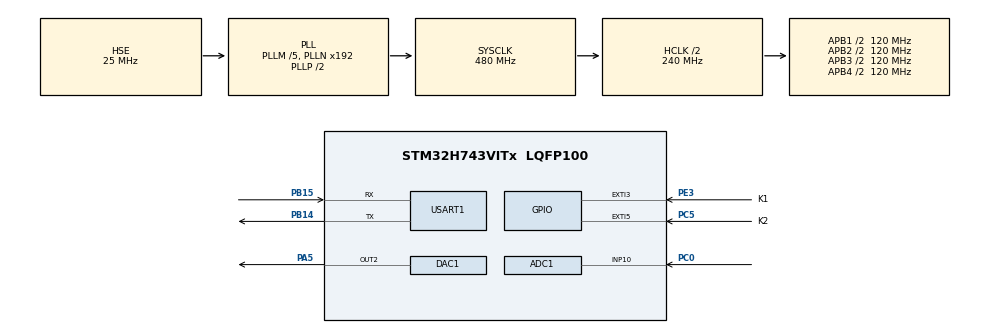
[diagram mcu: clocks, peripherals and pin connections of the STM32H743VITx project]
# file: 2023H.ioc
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ADC1.Channel-0\#ChannelRegularConversion=ADC_CHANNEL_10
ADC1.ConversionDataManagement=ADC_CONVERSIONDATA_DMA_CIRCULAR
ADC1.ExternalTrigConv=ADC_EXTERNALTRIG_T15_TRGO
ADC1.NbrOfConversionFlag=1
ADC1.OffsetNumber-0\#ChannelRegularConversion=ADC_OFFSET_NONE
ADC1.OffsetSignedSaturation-0\#ChannelRegularConversion=DISABLE
ADC1.Rank-0\#ChannelRegularConversion=1
ADC1.SamplingTime-0\#ChannelRegularConversion=ADC_SAMPLETIME_1CYCLE_5
ADC1.master=1
CORTEX_M7.AccessPermission-Cortex_Memory_Protection_Unit_Region0_Settings=MPU_REGION_FULL_ACCESS
CORTEX_M7.AccessPermission-Cortex_Memory_Protection_Unit_Region1_Settings=MPU_REGION_FULL_ACCESS
CORTEX_M7.AccessPermission-Cortex_Memory_Protection_Unit_Region2_Settings=MPU_REGION_FULL_ACCESS
CORTEX_M7.AccessPermission-Cortex_Memory_Protection_Unit_Region3_Settings=MPU_REGION_FULL_ACCESS
CORTEX_M7.AccessPermission-Cortex_Memory_Protection_Unit_Region4_Settings=MPU_REGION_FULL_ACCESS
CORTEX_M7.BaseAddress-Cortex_Memory_Protection_Unit_Region0_Settings=0x24000000
CORTEX_M7.BaseAddress-Cortex_Memory_Protection_Unit_Region1_Settings=0x30000000
CORTEX_M7.BaseAddress-Cortex_Memory_Protection_Unit_Region2_Settings=0x30020000
CORTEX_M7.BaseAddress-Cortex_Memory_Protection_Unit_Region3_Settings=0x30040000
CORTEX_M7.BaseAddress-Cortex_Memory_Protection_Unit_Region4_Settings=0x38000000
CORTEX_M7.CPU_DCache=Enabled
CORTEX_M7.CPU_ICache=Enabled
CORTEX_M7.Enable-Cortex_Memory_Protection_Unit_Region0_Settings=MPU_REGION_ENABLE
CORTEX_M7.Enable-Cortex_Memory_Protection_Unit_Region1_Settings=MPU_REGION_ENABLE
CORTEX_M7.Enable-Cortex_Memory_Protection_Unit_Region2_Settings=MPU_REGION_ENABLE
CORTEX_M7.Enable-Cortex_Memory_Protection_Unit_Region3_Settings=MPU_REGION_ENABLE
CORTEX_M7.Enable-Cortex_Memory_Protection_Unit_Region4_Settings=MPU_REGION_ENABLE
CORTEX_M7.IsBufferable-Cortex_Memory_Protection_Unit_Region0_Settings=MPU_ACCESS_BUFFERABLE
CORTEX_M7.IsCacheable-Cortex_Memory_Protection_Unit_Region0_Settings=MPU_ACCESS_CACHEABLE
CORTEX_M7.MPU_Control=MPU_PRIVILEGED_DEFAULT
CORTEX_M7.Size-Cortex_Memory_Protection_Unit_Region0_Settings=MPU_REGION_SIZE_512KB
CORTEX_M7.Size-Cortex_Memory_Protection_Unit_Region1_Settings=MPU_REGION_SIZE_128KB
CORTEX_M7.Size-Cortex_Memory_Protection_Unit_Region2_Settings=MPU_REGION_SIZE_128KB
CORTEX_M7.Size-Cortex_Memory_Protection_Unit_Region3_Settings=MPU_REGION_SIZE_32KB
CORTEX_M7.Size-Cortex_Memory_Protection_Unit_Region4_Settings=MPU_REGION_SIZE_64KB
CORTEX_M7.TypeExtField-Cortex_Memory_Protection_Unit_Region0_Settings=MPU_TEX_LEVEL1
CORTEX_M7.TypeExtField-Cortex_Memory_Protection_Unit_Region1_Settings=MPU_TEX_LEVEL1
CORTEX_M7.TypeExtField-Cortex_Memory_Protection_Unit_Region2_Settings=MPU_TEX_LEVEL1
CORTEX_M7.TypeExtField-Cortex_Memory_Protection_Unit_Region3_Settings=MPU_TEX_LEVEL1
CORTEX_M7.TypeExtField-Cortex_Memory_Protection_Unit_Region4_Settings=MPU_TEX_LEVEL1
DAC1.DAC2_OutputBuffer-DAC_OUT2=DAC_OUTPUTBUFFER_DISABLE
DAC1.DAC_Channel-DAC_OUT2=DAC_CHANNEL_2
DAC1.DAC_Trigger-DAC_OUT2=DAC_TRIGGER_T6_TRGO
DAC1.WaveGeneration-DAC_OUT2=DISABLE
Dma.ADC1.0.Direction=DMA_PERIPH_TO_MEMORY
Dma.ADC1.0.EventEnable=DISABLE
Dma.ADC1.0.FIFOMode=DMA_FIFOMODE_DISABLE
Dma.ADC1.0.Instance=DMA1_Stream0
Dma.ADC1.0.MemDataAlignment=DMA_MDATAALIGN_HALFWORD
Dma.ADC1.0.MemInc=DMA_MINC_ENABLE
Dma.ADC1.0.Mode=DMA_NORMAL
Dma.ADC1.0.PeriphDataAlignment=DMA_PDATAALIGN_HALFWORD
Dma.ADC1.0.PeriphInc=DMA_PINC_DISABLE
Dma.ADC1.0.Polarity=HAL_DMAMUX_REQ_GEN_RISING
Dma.ADC1.0.Priority=DMA_PRIORITY_LOW
Dma.ADC1.0.RequestNumber=1
Dma.ADC1.0.SignalID=NONE
Dma.ADC1.0.SyncEnable=DISABLE
Dma.ADC1.0.SyncPolarity=HAL_DMAMUX_SYNC_NO_EVENT
Dma.ADC1.0.SyncRequestNumber=1
Dma.ADC1.0.SyncSignalID=NONE
Dma.DAC1_CH2.1.Direction=DMA_MEMORY_TO_PERIPH
Dma.DAC1_CH2.1.EventEnable=DISABLE
Dma.DAC1_CH2.1.FIFOMode=DMA_FIFOMODE_DISABLE
Dma.DAC1_CH2.1.Instance=DMA1_Stream1
Dma.DAC1_CH2.1.MemDataAlignment=DMA_MDATAALIGN_HALFWORD
Dma.DAC1_CH2.1.MemInc=DMA_MINC_ENABLE
Dma.DAC1_CH2.1.Mode=DMA_CIRCULAR
Dma.DAC1_CH2.1.PeriphDataAlignment=DMA_PDATAALIGN_HALFWORD
Dma.DAC1_CH2.1.PeriphInc=DMA_PINC_DISABLE
Dma.DAC1_CH2.1.Polarity=HAL_DMAMUX_REQ_GEN_RISING
Dma.DAC1_CH2.1.Priority=DMA_PRIORITY_LOW
Dma.DAC1_CH2.1.RequestNumber=1
Dma.DAC1_CH2.1.SignalID=NONE
Dma.DAC1_CH2.1.SyncEnable=DISABLE
Dma.DAC1_CH2.1.SyncPolarity=HAL_DMAMUX_SYNC_NO_EVENT
Dma.DAC1_CH2.1.SyncRequestNumber=1
Dma.DAC1_CH2.1.SyncSignalID=NONE
Dma.Request0=ADC1
Dma.Request1=DAC1_CH2
Mcu.Family=STM32H7
Mcu.Name=STM32H743VITx
Mcu.Package=LQFP100
NVIC.DMA1_Stream0_IRQn=true\:0\:0\:false\:false\:true\:false\:true\:true
NVIC.DMA1_Stream1_IRQn=true\:0\:0\:false\:false\:true\:false\:true\:true
NVIC.EXTI3_IRQn=true\:0\:0\:false\:false\:true\:true\:true\:true
NVIC.EXTI9_5_IRQn=true\:0\:0\:false\:false\:true\:true\:true\:true
NVIC.PriorityGroup=NVIC_PRIORITYGROUP_4
PA13\ (JTMS/SWDIO).Mode=Serial_Wire
PA13\ (JTMS/SWDIO).Signal=DEBUG_JTMS-SWDIO
PA14\ (JTCK/SWCLK).Mode=Serial_Wire
PA14\ (JTCK/SWCLK).Signal=DEBUG_JTCK-SWCLK
PA5.Signal=COMP_DAC12_group
PB14.Mode=Asynchronous
PB14.Signal=USART1_TX
PB15.Mode=Asynchronous
PB15.Signal=USART1_RX
PC0.Signal=ADCx_INP10
PC5.GPIO_Label=K2
PC5.GPIO_ModeDefaultEXTI=GPIO_MODE_IT_RISING
PC5.GPIO_PuPd=GPIO_PULLUP
PC5.Signal=GPXTI5
PE3.GPIO_Label=K1
PE3.GPIO_PuPd=GPIO_PULLUP
PE3.Signal=GPXTI3
PH0-OSC_IN\ (PH0).Mode=HSE-External-Oscillator
PH0-OSC_IN\ (PH0).Signal=RCC_OSC_IN
PH1-OSC_OUT\ (PH1).Mode=HSE-External-Oscillator
PH1-OSC_OUT\ (PH1).Signal=RCC_OSC_OUT
ProjectManager.HeapSize=0x200
ProjectManager.StackSize=0x7400
ProjectManager.TargetToolchain=MDK-ARM V5.32
RCC.ADCFreq_Value=72000000
RCC.APB1Freq_Value=120000000
RCC.APB2Freq_Value=120000000
RCC.APB3Freq_Value=120000000
RCC.APB4Freq_Value=120000000
RCC.CortexFreq_Value=480000000
RCC.D1PPRE=RCC_APB3_DIV2
RCC.D2PPRE1=RCC_APB1_DIV2
RCC.D2PPRE2=RCC_APB2_DIV2
RCC.D3PPRE=RCC_APB4_DIV2
RCC.DIVM1=5
RCC.DIVM2=25
RCC.DIVN1=192
RCC.DIVN2=360
RCC.DIVP2=5
RCC.HCLKFreq_Value=240000000
RCC.HPRE=RCC_HCLK_DIV2
RCC.PLL2FRACN=0
RCC.PLLFRACN=0
RCC.PLLSourceVirtual=RCC_PLLSOURCE_HSE
RCC.PWR_Regulator_Voltage_Scale=PWR_REGULATOR_VOLTAGE_SCALE0
RCC.ProductRev=revV
RCC.SYSCLKFreq_VALUE=480000000
RCC.SYSCLKSource=RCC_SYSCLKSOURCE_PLLCLK
RCC.USBFreq_Value=480000000
SH.ADCx_INP10.0=ADC1_INP10,IN10-Single-Ended
SH.COMP_DAC12_group.0=DAC1_OUT2,DAC_OUT2
TIM15.Period=25-1
TIM15.Prescaler=15-1
TIM15.TIM_MasterOutputTrigger=TIM_TRGO_UPDATE
TIM6.Period=200-1
TIM6.Prescaler=12-1
TIM6.TIM_MasterOutputTrigger=TIM_TRGO_UPDATE
TIM7.Prescaler=239
USART1.VirtualMode-Asynchronous=VM_ASYNC
VP_TIM15_VS_ClockSourceINT.Mode=Internal
VP_TIM6_VS_ClockSourceINT.Mode=Enable_Timer
VP_TIM7_VS_ClockSourceINT.Mode=Enable_Timer
board=custom

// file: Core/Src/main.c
/* USER CODE BEGIN Header */
/**
  ******************************************************************************
  * @file           : main.c
  * @brief          : Main program body
  ******************************************************************************
  * @attention
  *
  * Copyright (c) 2023 STMicroelectronics.
  * All rights reserved.
  *
  * This software is licensed under terms that can be found in the LICENSE file
  * in the root directory of this software component.
  * If no LICENSE file comes with this software, it is provided AS-IS.
  *
  ******************************************************************************
  */
/* USER CODE END Header */
#include "main.h"
#include "adc.h"
#include "dac.h"
#include "dma.h"
#include "tim.h"
#include "usart.h"
#include "gpio.h"

/* USER CODE BEGIN PTD */
ALIGN_32BYTES (uint16_t adc1_data[FFT_LENGTH]) 	__attribute__((section(".ARM.__at_0x30000000")));
__IO uint8_t AdcConvEnd = 0;//Indicates completion of ADC acquisition
ALIGN_32BYTES (uint16_t Dat[200]) 	__attribute__((section(".ARM.__at_0x38000000")));

void adc_init(void)
{
	// printf("start_adc\n");
	MX_ADC1_Init();	//The initialization call should be placed here, ensuring that it is done after the initialization of MX_daMA_init()
	HAL_Delay(100);	//Someone says that we can wait for the voltage to stabilize before calibrating here

	if (HAL_ADCEx_Calibration_Start(&hadc1, ADC_CALIB_OFFSET, ADC_SINGLE_ENDED) != HAL_OK)
	{
			printf("hadc1 error with HAL_ADCEx_Calibration_Start\r\n");
			Error_Handler();
	}

	if (HAL_ADC_Start_DMA(&hadc1, (uint32_t *)adc1_data, FFT_LENGTH) != HAL_OK)
	{
			printf("hadc1 error with HAL_ADC_Start_DMA\r\n");
			Error_Handler();
	}

	HAL_TIM_Base_Start(&htim15);
	while (!AdcConvEnd);
	AdcConvEnd = 0;
	HAL_ADC_DeInit(&hadc1);
	HAL_TIM_Base_Stop(&htim15);
}

/* USER CODE END PTD */

/* USER CODE BEGIN PM */
void SineWave()
{
    uint16_t i;
    for( i=0;i<200;i++)
    {
  		Dat[i]=(uint16_t)((int16_t)(2048*sin(i*2*3.1415926/200))+2048);
//			Dat[i] = 4095;
    }
//	Dat[0] = 0;
//	Dat[1] = 4095;
}
/* USER CODE END PM */

void SystemClock_Config(void);
static void MPU_Config(void);

int main(void)
{

  /* MPU Configuration--------------------------------------------------------*/
  MPU_Config();

  /* Enable the CPU Cache */

  /* Enable I-Cache---------------------------------------------------------*/
  SCB_EnableICache();

  /* Enable D-Cache---------------------------------------------------------*/
  SCB_EnableDCache();

  /* MCU Configuration--------------------------------------------------------*/

  /* Reset of all peripherals, Initializes the Flash interface and the Systick. */
  HAL_Init();

  /* Configure the system clock */
  SystemClock_Config();

  /* Initialize all configured peripherals */
  MX_GPIO_Init();
  MX_DMA_Init();
  MX_USART1_UART_Init();
  MX_ADC1_Init();
  MX_TIM7_Init();
  MX_DAC1_Init();
  MX_TIM15_Init();
  MX_TIM6_Init();
  /* USER CODE BEGIN 2 */
	// SineWave();//Generate sine wave data
	// HAL_DAC_Start_DMA(&hdac1,DAC_CHANNEL_2,(uint32_t *)Dat,200,DAC_ALIGN_12B_R);//Enable DMA-DAC
	// HAL_TIM_Base_Start(&htim6);//Enable Timer 6

	// float voltage = 0;
	// adc_init();
	// for(u16 temp=0;temp<FFT_LENGTH;temp++)
	// {
	// 	voltage = adc1_data[temp]*3.3/65536;
	// 	printf("%f\r\n",voltage);
	// }

	// FFT_Init();
  // FFT_DIS();

  /* USER CODE END 2 */

  /* Infinite loop */
  /* USER CODE BEGIN WHILE */
  int index1 = 0, index2 = 0,deltaphase = 0,mode = 0;
  while (1)
  {
    adc_init();
    FFT_Init();
    FFT_DIS(&index1, &index2, &deltaphase, &mode);
    /* USER CODE END WHILE */

  }
}

void SystemClock_Config(void)
{
  RCC_OscInitTypeDef RCC_OscInitStruct = {0};
  RCC_ClkInitTypeDef RCC_ClkInitStruct = {0};

  /** Supply configuration update enable
  */
  HAL_PWREx_ConfigSupply(PWR_LDO_SUPPLY);

  /** Configure the main internal regulator output voltage
  */
  __HAL_PWR_VOLTAGESCALING_CONFIG(PWR_REGULATOR_VOLTAGE_SCALE1);

  while(!__HAL_PWR_GET_FLAG(PWR_FLAG_VOSRDY)) {}

  __HAL_RCC_SYSCFG_CLK_ENABLE();
  __HAL_PWR_VOLTAGESCALING_CONFIG(PWR_REGULATOR_VOLTAGE_SCALE0);

  while(!__HAL_PWR_GET_FLAG(PWR_FLAG_VOSRDY)) {}

  /** Initializes the RCC Oscillators according to the specified parameters
  * in the RCC_OscInitTypeDef structure.
  */
  RCC_OscInitStruct.OscillatorType = RCC_OSCILLATORTYPE_HSE;
  RCC_OscInitStruct.HSEState = RCC_HSE_ON;
  RCC_OscInitStruct.PLL.PLLState = RCC_PLL_ON;
  RCC_OscInitStruct.PLL.PLLSource = RCC_PLLSOURCE_HSE;
  RCC_OscInitStruct.PLL.PLLM = 5;
  RCC_OscInitStruct.PLL.PLLN = 192;
  RCC_OscInitStruct.PLL.PLLP = 2;
  RCC_OscInitStruct.PLL.PLLQ = 2;
  RCC_OscInitStruct.PLL.PLLR = 2;
  RCC_OscInitStruct.PLL.PLLRGE = RCC_PLL1VCIRANGE_2;
  RCC_OscInitStruct.PLL.PLLVCOSEL = RCC_PLL1VCOWIDE;
  RCC_OscInitStruct.PLL.PLLFRACN = 0;
  if (HAL_RCC_OscConfig(&RCC_OscInitStruct) != HAL_OK)
  {
    Error_Handler();
  }

  /** Initializes the CPU, AHB and APB buses clocks
  */
  RCC_ClkInitStruct.ClockType = RCC_CLOCKTYPE_HCLK|RCC_CLOCKTYPE_SYSCLK
                              |RCC_CLOCKTYPE_PCLK1|RCC_CLOCKTYPE_PCLK2
                              |RCC_CLOCKTYPE_D3PCLK1|RCC_CLOCKTYPE_D1PCLK1;
  RCC_ClkInitStruct.SYSCLKSource = RCC_SYSCLKSOURCE_PLLCLK;
  RCC_ClkInitStruct.SYSCLKDivider = RCC_SYSCLK_DIV1;
  RCC_ClkInitStruct.AHBCLKDivider = RCC_HCLK_DIV2;
  RCC_ClkInitStruct.APB3CLKDivider = RCC_APB3_DIV2;
  RCC_ClkInitStruct.APB1CLKDivider = RCC_APB1_DIV2;
  RCC_ClkInitStruct.APB2CLKDivider = RCC_APB2_DIV2;
  RCC_ClkInitStruct.APB4CLKDivider = RCC_APB4_DIV2;

  if (HAL_RCC_ClockConfig(&RCC_ClkInitStruct, FLASH_LATENCY_4) != HAL_OK)
  {
    Error_Handler();
  }
}

/* USER CODE BEGIN 4 */
void HAL_ADC_ConvCpltCallback(ADC_HandleTypeDef* hadc)
{
   if(hadc->Instance == ADC1)
	{
      //SCB_InvalidateDCache_by_Addr((uint32_t *) &adc1_data[0], ADC1_BUFFER_SIZE);
   }
	 AdcConvEnd = 1;
}
/* USER CODE END 4 */

 /* MPU Configuration */

void MPU_Config(void)
{
  MPU_Region_InitTypeDef MPU_InitStruct = {0};

  /* Disables the MPU */
  HAL_MPU_Disable();

  /** Initializes and configures the Region and the memory to be protected
  */
  MPU_InitStruct.Enable = MPU_REGION_ENABLE;
  MPU_InitStruct.Number = MPU_REGION_NUMBER0;
  MPU_InitStruct.BaseAddress = 0x24000000;
  MPU_InitStruct.Size = MPU_REGION_SIZE_512KB;
  MPU_InitStruct.SubRegionDisable = 0x0;
  MPU_InitStruct.TypeExtField = MPU_TEX_LEVEL1;
  MPU_InitStruct.AccessPermission = MPU_REGION_FULL_ACCESS;
  MPU_InitStruct.DisableExec = MPU_INSTRUCTION_ACCESS_ENABLE;
  MPU_InitStruct.IsShareable = MPU_ACCESS_NOT_SHAREABLE;
  MPU_InitStruct.IsCacheable = MPU_ACCESS_CACHEABLE;
  MPU_InitStruct.IsBufferable = MPU_ACCESS_BUFFERABLE;

  HAL_MPU_ConfigRegion(&MPU_InitStruct);

  /** Initializes and configures the Region and the memory to be protected
  */
  MPU_InitStruct.Number = MPU_REGION_NUMBER1;
  MPU_InitStruct.BaseAddress = 0x30000000;
  MPU_InitStruct.Size = MPU_REGION_SIZE_128KB;
  MPU_InitStruct.IsCacheable = MPU_ACCESS_NOT_CACHEABLE;
  MPU_InitStruct.IsBufferable = MPU_ACCESS_NOT_BUFFERABLE;

  HAL_MPU_ConfigRegion(&MPU_InitStruct);

  /** Initializes and configures the Region and the memory to be protected
  */
  MPU_InitStruct.Number = MPU_REGION_NUMBER2;
  MPU_InitStruct.BaseAddress = 0x30020000;

  HAL_MPU_ConfigRegion(&MPU_InitStruct);

  /** Initializes and configures the Region and the memory to be protected
  */
  MPU_InitStruct.Number = MPU_REGION_NUMBER3;
  MPU_InitStruct.BaseAddress = 0x30040000;
  MPU_InitStruct.Size = MPU_REGION_SIZE_32KB;

  HAL_MPU_ConfigRegion(&MPU_InitStruct);

  /** Initializes and configures the Region and the memory to be protected
  */
  MPU_InitStruct.Number = MPU_REGION_NUMBER4;
  MPU_InitStruct.BaseAddress = 0x38000000;
  MPU_InitStruct.Size = MPU_REGION_SIZE_64KB;

  HAL_MPU_ConfigRegion(&MPU_InitStruct);
  /* Enables the MPU */
  HAL_MPU_Enable(MPU_PRIVILEGED_DEFAULT);

}

void Error_Handler(void)
{
  __disable_irq();
  while (1)
  {
  }
}
